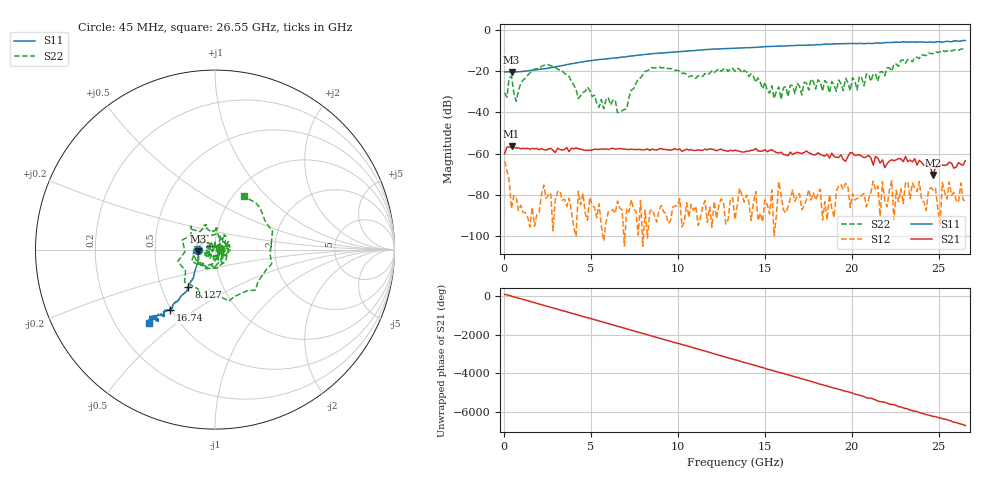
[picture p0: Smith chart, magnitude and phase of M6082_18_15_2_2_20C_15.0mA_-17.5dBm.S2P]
!  2-Port S-parameters saved by WinCal
! VAR MeasName=S-Parameters (CALIBRATED_DATA) read from VNA (C)
! VAR MeasDate=9/29/2015 3:46:12 PM
! VAR NAME=M6082_18_15_2_2_20C_15.0mA_-17.5dBm
! VAR FILENAME=M6082_18_15_2_2_20C_15.0mA_-17.5dBm.S2P
! VAR DATE=9/29/2015 3:46:12 PM
! VAR PHYS_PORTS=2,1
! VAR ObjTypeName=DATASET
! VAR IndexType=Frequency
# Hz S RI R 50
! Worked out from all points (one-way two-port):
!   201 points, 45 MHz to 26.55 GHz, reference 50 ohm
!   highest |S21| = -56.45 dB at 442.5 MHz (marker M1); lowest = -70.3 dB at 24.69 GHz (marker M2)
!   lowest |S11| = -20.4 dB at 442.5 MHz (marker M3), VSWR 1.21, Z = 41.3 - j0.806 ohm
!   |S11| at or under -10 dB: start of sweep to 10.98 GHz
!   |S22| runs from -40.1 to -9.2 dB; largest |S21 - S12| = 0.0016
!   S11 on the Smith chart (normalised r, x): 45 MHz: 0.83, -0.00; 8.127 GHz: 0.69, -0.30; 16.74 GHz: 0.49, -0.40; 26.55 GHz: 0.34, -0.40
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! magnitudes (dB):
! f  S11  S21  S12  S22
! 45 MHz  -20.4  -60.1  -63.6  -30.6
! 442.5 MHz  -20.4  -56.4  -86.7  -22.4
! 707.5 MHz  -20.3  -57.2  -81.0  -34.6
! 1.105 GHz  -20.1  -57.4  -88.5  -24.4
! 2.43 GHz  -18.7  -58.3  -81.6  -16.9
! 4.55 GHz  -15.5  -58.1  -79.3  -30.3
! 6.67 GHz  -13.4  -57.5  -86.5  -39.9
! 8.127 GHz  -11.9  -58.1  -87.4  -20.0
! 8.922 GHz  -11.3  -57.8  -87.3  -18.0
! 13.29 GHz  -8.9  -58.4  -91.9  -20.1
! 15.55 GHz  -7.9  -58.8  -99.8  -33.2
! 15.81 GHz  -7.9  -59.7  -73.7  -27.6
! 15.95 GHz  -7.8  -59.3  -79.8  -33.7
! 16.74 GHz  -7.6  -59.8  -83.1  -30.9
! 17.8 GHz  -7.3  -60.7  -79.1  -25.1
! 20.05 GHz  -6.6  -59.7  -79.5  -23.2
! 20.32 GHz  -6.7  -60.7  -81.7  -29.1
! 20.45 GHz  -6.5  -60.5  -81.5  -22.5
! 21.25 GHz  -6.6  -65.6  -73.3  -21.3
! 22.17 GHz  -6.1  -63.6  -77.8  -18.4
! 24.69 GHz  -6.1  -70.3  -77.6  -11.5
! 26.55 GHz  -5.2  -63.4  -82.9  -9.5
